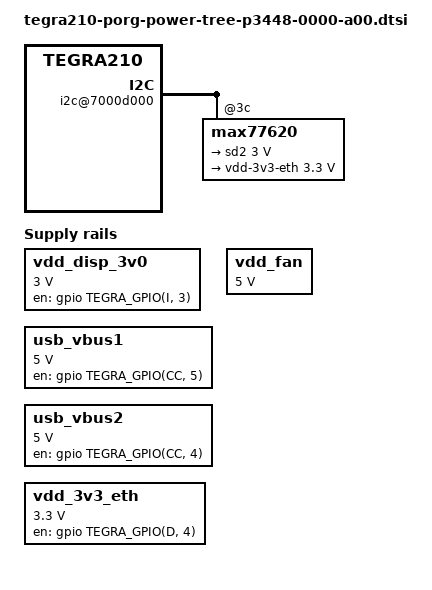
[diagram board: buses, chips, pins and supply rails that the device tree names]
/*
 * Copyright (c) 2018, NVIDIA CORPORATION.  All rights reserved.
 *
 * This program is free software; you can redistribute it and/or modify
 * it under the terms of the GNU General Public License as published by
 * the Free Software Foundation; either version 2 of the License, or
 * (at your option) any later version.
 *
 * This program is distributed in the hope that it will be useful, but WITHOUT
 * ANY WARRANTY; without even the implied warranty of MERCHANTABILITY or
 * FITNESS FOR A PARTICULAR PURPOSE.  See the GNU General Public License for
 * more details.
 *
 * You should have received a copy of the GNU General Public License along
 * along with this program. If not, see <http://www.gnu.org/licenses/>.
 */

#include <t210-common-platforms/tegra210-ers-pmic-e2174-1101-a00.dtsi>
#include <t210-common-platforms/tegra210-ers-fixed-e2174-1101-a00.dtsi>
#include <t210-common-platforms/tegra210-ers-power-dvfs-e2174-1101-a00.dtsi>

/ {
	i2c@7000d000 {
		max77620: max77620@3c {
			maxim,enable-rtc2-alarm-wakeup;
			low-battery-monitor {
				maxim,low-battery-shutdown-enable;
			};

			max77620_default: pinmux@0 {
				pin_gpio1 {
					maxim,active-fps-source = <MAX77620_FPS_SRC_NONE>;
				};

				pin_gpio2 {
					maxim,active-fps-source = <MAX77620_FPS_SRC_0>;
				};

				pin_gpio3 {
					maxim,active-fps-source = <MAX77620_FPS_SRC_0>;
					maxim,fps-power-up-period = <4>;
					maxim,fps-power-down-period = <4>;
				};
			};

			regulators {
				sd0 {
					maxim,active-fps-source = <MAX77620_FPS_SRC_1>;
					maxim,fps-power-up-period = <1>;
					maxim,fps-power-down-period = <7>;
					regulator-enable-ramp-delay = <146>;
					regulator-disable-ramp-delay = <4080>;
					regulator-ramp-delay = <27500>;
					regulator-ramp-delay-scale = <300>;
				};

				sd1 {
					maxim,active-fps-source = <MAX77620_FPS_SRC_0>;
					maxim,fps-power-up-period = <5>;
					maxim,fps-power-down-period = <3>;
					regulator-enable-ramp-delay = <130>;
					regulator-disable-ramp-delay = <145800>;
					regulator-ramp-delay = <27500>;
					regulator-ramp-delay-scale = <300>;
				};

				sd2 {
					maxim,active-fps-source = <MAX77620_FPS_SRC_1>;
					maxim,suspend-fps-source = <MAX77620_FPS_SRC_NONE>;
					maxim,fps-power-up-period = <2>;
					maxim,fps-power-down-period = <1>;
					regulator-enable-ramp-delay = <176>;
					regulator-disable-ramp-delay = <32000>;
					regulator-ramp-delay = <27500>;
					regulator-ramp-delay-scale = <350>;
					regulator-min-microvolt = <3000000>;
					regulator-max-microvolt = <3000000>;
				};

				sd3 {
					maxim,active-fps-source = <MAX77620_FPS_SRC_0>;
					maxim,fps-power-up-period = <3>;
					maxim,fps-power-down-period = <5>;
					regulator-enable-ramp-delay = <242>;
					regulator-disable-ramp-delay = <118000>;
					regulator-ramp-delay = <27500>;
					regulator-ramp-delay-scale = <360>;
				};

				ldo0 {
					maxim,active-fps-source = <MAX77620_FPS_SRC_NONE>;
					regulator-enable-ramp-delay = <26>;
					regulator-disable-ramp-delay = <626>;
					regulator-ramp-delay = <100000>;
					regulator-ramp-delay-scale = <200>;
				};

				ldo1 {
					maxim,active-fps-source = <MAX77620_FPS_SRC_NONE>;
					regulator-enable-ramp-delay = <22>;
					regulator-disable-ramp-delay = <630>;
					regulator-ramp-delay = <100000>;
					regulator-ramp-delay-scale = <200>;
				};

				ldo2 {
					maxim,active-fps-source = <MAX77620_FPS_SRC_NONE>;
					regulator-enable-ramp-delay = <62>;
					regulator-disable-ramp-delay = <650>;
					regulator-ramp-delay = <100000>;
					regulator-ramp-delay-scale = <200>;
				};

				ldo3 {
					regulator-name = "vdd-3v3-eth";
					regulator-min-microvolt = <3300000>;
					regulator-max-microvolt = <3300000>;
					regulator-always-on;
					regulator-boot-on;
					regulator-enable-ramp-delay = <50>;
					regulator-disable-ramp-delay = <1110>;
					regulator-ramp-delay = <100000>;
					regulator-ramp-delay-scale = <200>;
					maxim,active-fps-source = <MAX77620_FPS_SRC_NONE>;
				};

				ldo4 {
					maxim,active-fps-source = <MAX77620_FPS_SRC_0>;
					maxim,fps-power-up-period = <1>;
					maxim,fps-power-down-period = <7>;
					regulator-enable-ramp-delay = <22>;
					regulator-disable-ramp-delay = <610>;
					regulator-ramp-delay = <100000>;
					regulator-ramp-delay-scale = <200>;
					regulator-disable-active-discharge;
				};

				ldo5 {
					maxim,active-fps-source = <MAX77620_FPS_SRC_NONE>;
					regulator-enable-ramp-delay = <62>;
					regulator-disable-ramp-delay = <640>;
					regulator-ramp-delay = <100000>;
					regulator-ramp-delay-scale = <200>;
				};

				ldo6 {
					maxim,active-fps-source = <MAX77620_FPS_SRC_NONE>;
					regulator-enable-ramp-delay = <36>;
					regulator-disable-ramp-delay = <674>;
					regulator-ramp-delay = <100000>;
					regulator-ramp-delay-scale = <200>;
				};

				ldo7 {
					maxim,active-fps-source = <MAX77620_FPS_SRC_1>;
					maxim,suspend-fps-source = <MAX77620_FPS_SRC_NONE>;
					maxim,fps-power-up-period = <2>;
					maxim,fps-power-down-period = <1>;
					regulator-enable-ramp-delay = <24>;
					regulator-disable-ramp-delay = <2768>;
					regulator-ramp-delay = <100000>;
					regulator-ramp-delay-scale = <200>;
				};

				ldo8 {
					maxim,active-fps-source = <MAX77620_FPS_SRC_1>;
					maxim,fps-power-up-period = <6>;
					maxim,fps-power-down-period = <1>;
					regulator-enable-ramp-delay = <22>;
					regulator-disable-ramp-delay = <1160>;
					regulator-ramp-delay = <100000>;
					regulator-ramp-delay-scale = <200>;
				};
			};
		};
	};

	regulators {
		regulator@1 {
			regulator-enable-ramp-delay = <160>;
			regulator-disable-ramp-delay = <10000>;
		};

		regulator@2 {
			regulator-always-on;
			regulator-min-microvolt = <1200000>;
			regulator-max-microvolt = <1200000>;
			regulator-enable-ramp-delay = <240>;
			regulator-disable-ramp-delay = <11340>;
		};

		regulator@4 {
			regulator-enable-ramp-delay = <472>;
			regulator-disable-ramp-delay = <4880>;
		};

		regulator@6 {
			regulator-enable-ramp-delay = <3090>;
		};

		regulator@7 {
			regulator-enable-ramp-delay = <468>;
			regulator-disable-ramp-delay = <13000>;
		};

		vdd_disp_3v0: regulator@12 {
			compatible = "regulator-fixed-sync";
			reg = <12>;
			regulator-name = "vdd-disp-3v0";
			regulator-min-microvolt = <3000000>;
			regulator-max-microvolt = <3000000>;
			gpio = <&gpio TEGRA_GPIO(I, 3) 0>;
			regulator-always-on;
			enable-active-high;
			regulator-enable-ramp-delay = <232>;
		};

		vdd_fan: regulator@13 {
			compatible = "regulator-fixed-sync";
			reg = <13>;
			regulator-name = "vdd-fan";
			regulator-min-microvolt = <5000000>;
			regulator-max-microvolt = <5000000>;
			/*gpio = <&gpio TEGRA_GPIO(E, 4) 0>;*/
			enable-active-high;
			regulator-enable-ramp-delay = <284>;
			regulator-disable-ramp-delay = <6200>;
		};

		usb_vbus1: regulator@14 {
			compatible = "regulator-fixed-sync";
			reg = <14>;
			regulator-name = "usb-vbus1";
			regulator-min-microvolt = <5000000>;
			regulator-max-microvolt = <5000000>;
			gpio = <&gpio TEGRA_GPIO(CC, 5) 0>;
			enable-active-high;
			gpio-open-drain;
		};

		usb_vbus2: regulator@15 {
			compatible = "regulator-fixed-sync";
			reg = <15>;
			regulator-name = "usb-vbus2";
			regulator-min-microvolt = <5000000>;
			regulator-max-microvolt = <5000000>;
			gpio = <&gpio TEGRA_GPIO(CC, 4) 0>;
			enable-active-high;
			gpio-open-drain;
		};

		vdd_3v3_eth: regulator@16 {
			compatible = "regulator-fixed-sync";
			reg = <16>;
			regulator-name = "vdd-3v3-eth-a02";
			regulator-min-microvolt = <3300000>;
			regulator-max-microvolt = <3300000>;
			gpio = <&gpio TEGRA_GPIO(D, 4) 0>;
			regulator-always-on;
			regulator-boot-on;
			enable-active-high;
			gpio-open-drain;
		};
	};

	i2c@7000c500 {
		battery-charger@6b {
			status = "disabled";
		};
	};

	host1x {
		i2c@546c0000 {
			bus-pullup-supply = <&battery_reg>;
		};
	};

	efuse@7000f800 {
		vpp_fuse-supply = <&max77620_sd3>;
	};

	host1x {
		/* tegradc.0 */
		dc@54200000 {
			avdd_hdmi-supply = <&max77620_ldo8>;
			avdd_hdmi_pll-supply = <&max77620_sd3>;
			vdd_hdmi_5v0-supply = <&vdd_hdmi>;
		};

		vi {
			avdd_dsi_csi-supply = <&max77620_gpio7>;
		};
	};

	sound {
		ldoen-supply = <&vdd_sys_boost>;
		spkvdd-supply = <&vdd_sys_boost>;
		dbvdd-supply = <&vdd_sys_boost>;
		dmicvdd-supply = <&max77620_sd3>;
	};

	xusb@70090000 {
		hvdd_usb-supply = <&vdd_3v3>;
		avdd_pll_utmip-supply = <&max77620_sd3>;
		vddio_hsic-supply = <&max77620_ldo0>;
		avddio_usb-supply = <&max77620_ldo1>;
		dvdd_sata-supply = <&max77620_ldo8>;
		avddio_pll_uerefe-supply = <&max77620_ldo7>;
	};

	xudc@700d0000 {
		hvdd_usb-supply = <&vdd_3v3>;
		avdd_pll_utmip-supply = <&max77620_sd3>;
		avddio_usb-supply = <&max77620_ldo1>;
		avddio_pll_uerefe-supply = <&max77620_ldo7>;
	};

	xotg {
		usb_vbus-supply = <&usb_vbus1>;
	};

	xusb_padctl@7009f000 {
		vddio-hsic-supply = <&max77620_ldo0>;
		avdd_pll_uerefe-supply = <&max77620_ldo7>;
		hvdd_pex_pll_e-supply = <&max77620_sd3>;
		dvdd_pex_pll-supply = <&max77620_ldo1>;
		hvddio_pex-supply = <&max77620_sd3>;
		dvddio_pex-supply = <&max77620_ldo1>;
		hvdd_sata-supply = <&max77620_sd3>;
		dvdd_sata_pll-supply = <&max77620_ldo8>;
		hvddio_sata-supply = <&max77620_sd3>;
		dvddio_sata-supply = <&max77620_ldo8>;

		ports {
			usb2-0 {
				vbus-supply = <&battery_reg>;
			};
			usb2-1 {
				vbus-supply = <&battery_reg>;
			};
			usb2-2 {
				vbus-supply = <&battery_reg>;
			};
		};
	};

	sdhci@700b0600 {
		vqmmc-supply = <&max77620_sd3>; /* SDMMC4 for EMMC on loki */
		vmmc-supply = <&vdd_3v3>;
	};

	sdhci@700b0400 {
		vqmmc-supply = <&max77620_sd3>; /* SDMMC3 for 2nd Wifi on loki */
		vmmc-supply = <&vdd_3v3>; /* SDMMC3 no stuff for full size SD on foster */
	};

	sdhci@700b0200 {
		vqmmc-supply = <&max77620_sd3>; /* SDMMC2 for Wifi on loki */
		vmmc-supply = <&vdd_3v3>;
	};

	sdhci@700b0000 {
		vqmmc-supply = <&max77620_ldo2>; /* SDMMC1 for SD card on loki */
		vmmc-supply = <&en_vdd_sd>;
	};

	sata@70020000 {
		hvdd_sata-supply = <&max77620_sd3>;
		hvdd_pex_pll_e-supply = <&max77620_sd3>;
		l0_hvddio_sata-supply = <&max77620_sd3>;
		l0_dvddio_sata-supply = <&max77620_ldo8>;
		dvdd_sata_pll-supply = <&max77620_ldo8>;
	};

	bluedroid_pm {
		avdd-supply = <&battery_reg>;
		dvdd-supply = <&max77620_sd3>;
	};

	pwm-fan {
		vdd-fan-supply = <&vdd_fan>;
	};

	pmc-iopower {
		iopower-sys-supply = <&max77620_sd3>;
		iopower-uart-supply = <&max77620_sd3>;
		iopower-audio-supply = <&max77620_sd3>;
		iopower-cam-supply = <&max77620_sd3>;
		iopower-pex-ctrl-supply = <&max77620_sd3>;
		iopower-sdmmc1-supply = <&max77620_ldo2>;
		iopower-sdmmc3-supply = <&max77620_sd3>;
		iopower-sdmmc4-supply = <&max77620_sd3>;
		iopower-audio-hv-supply = <&max77620_sd3>;
		iopower-debug-supply = <&max77620_sd3>;
		iopower-dmic-supply = <&max77620_sd3>;
		iopower-gpio-supply = <&max77620_sd3>;
		iopower-spi-supply = <&max77620_sd3>;
		iopower-spi-hv-supply = <&max77620_sd3>;
		iopower-sdmmc2-supply = <&max77620_sd3>;
		iopower-dp-supply = <&max77620_sd3>;
	};

	pmc@7000e400 {
		bootrom-commands {
			reset-commands {
				nvidia,command-retries-count = <2>;
				nvidia,delay-between-commands-us = <10>;
				nvidia,wait-start-bus-clear-us = <10>;
				#address-cells = <1>;
				#size-cells = <0>;
				commands@4-003c {
					nvidia,command-names = "pmic-rails";
					reg = <0x3c>;
					nvidia,enable-8bit-register;
					nvidia,enable-8bit-data;
					nvidia,controller-type-i2c;
					nvidia,controller-id = <4>;
					nvidia,enable-controller-reset;
					nvidia,write-commands = <0x00000016 0x00000020>;
				};
			};
			power-off-commands {
				nvidia,command-retries-count = <2>;
				nvidia,delay-between-commands-us = <10>;
				nvidia,wait-start-bus-clear-us = <10>;
				#address-cells = <1>;
				#size-cells = <0>;
				commands@4-003c {
					nvidia,command-names = "pmic-rails";
					reg = <0x3c>;
					nvidia,enable-8bit-register;
					nvidia,enable-8bit-data;
					nvidia,controller-type-i2c;
					nvidia,controller-id = <4>;
					nvidia,enable-controller-reset;
					nvidia,write-commands = <0x3B 0x01
								0x42 0x5B
								0x41 0xF8>;
				};
			};
		};
	};
};
